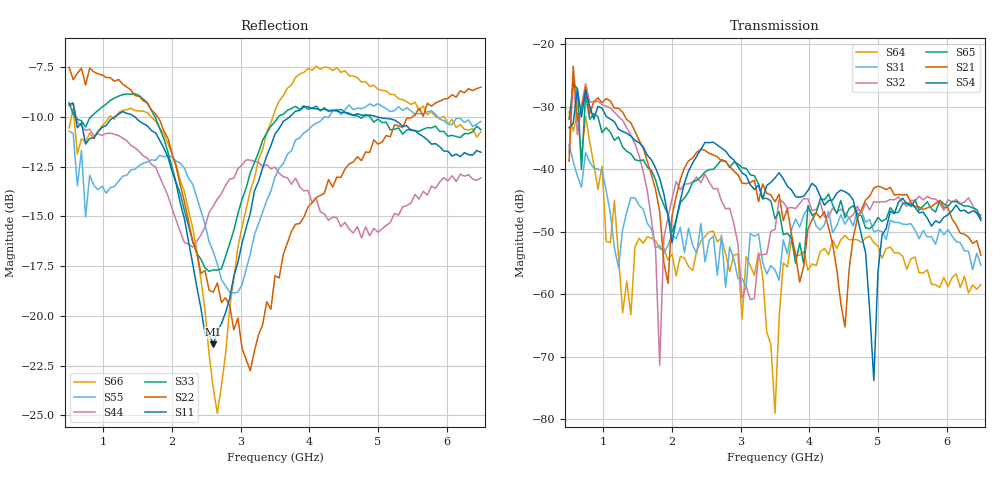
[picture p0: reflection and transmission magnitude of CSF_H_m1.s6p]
!Keysight Technologies,M9804A,MY58100912,A.14.10.03
!Date: Thursday, April 27, 2023 10:28:33
!Correction: S11(C  6-Port  )
!S12(C  6-Port  )
!S13(C  6-Port  )
!S14(C  6-Port  )
!S15(C  6-Port  )
!S16(C  6-Port  )
!S21(C  6-Port  )
!S22(C  6-Port  )
!S23(C  6-Port  )
!S24(C  6-Port  )
!S25(C  6-Port  )
!S26(C  6-Port  )
!S31(C  6-Port  )
!S32(C  6-Port  )
!S33(C  6-Port  )
!S34(C  6-Port  )
!S35(C  6-Port  )
!S36(C  6-Port  )
!S41(C  6-Port  )
!S42(C  6-Port  )
!S43(C  6-Port  )
!S44(C  6-Port  )
!S45(C  6-Port  )
!S46(C  6-Port  )
!S51(C  6-Port  )
!S52(C  6-Port  )
!S53(C  6-Port  )
!S54(C  6-Port  )
!S55(C  6-Port  )
!S56(C  6-Port  )
!S61(C  6-Port  )
!S62(C  6-Port  )
!S63(C  6-Port  )
!S64(C  6-Port  )
!S65(C  6-Port  )
!S66(C  6-Port  )
!S6P File: Measurement: :
# Hz S  RI  R 50
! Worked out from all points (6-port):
!   101 points, 500 MHz to 6.5 GHz, reference 50 ohm
!   strongest paths, dB at 500 MHz, 2 GHz, 3.5 GHz, 5 GHz, 6.5 GHz:
!     S54: -33.4, -51.8, -41.4, -56.5, -48.2
!     S21: -38.8, -47.4, -45.2, -42.7, -53.8
!     S65: -32.0, -50.1, -47.9, -47.7, -47.8
!     S32: -37.5, -44.8, -49.6, -45.3, -47.3
!     S31: -36.1, -50.5, -56.1, -49.8, -55.3
!     S64: -30.9, -53.6, -79.0, -52.3, -58.4
!   lowest |S11| = -21.4 dB at 2.6 GHz (marker M1), VSWR 1.19, Z = 42.5 + j2.28 ohm
!   |S11| at or under -10 dB: 593.8 MHz to 1.157 GHz (563.2 MHz wide, 64.3 % of centre); 1.46 GHz to 3.709 GHz (2.249 GHz wide, 87 % of centre); 4.989 GHz to end of sweep
